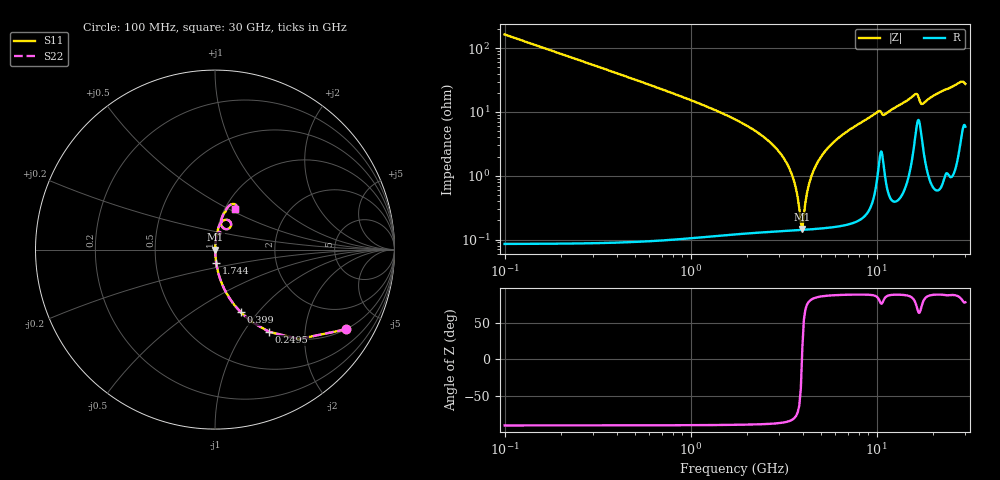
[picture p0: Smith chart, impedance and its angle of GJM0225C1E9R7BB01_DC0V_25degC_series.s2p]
!Murata Part Number: GJM0225C1E9R7BB01
!These Parameters are Measured in Series Mode Connection
!  o--ll--o
!Port1  Port2
!  o------o
!Operation Temp=25[degC], DC Bias Voltage=0[V]
!Freq. Start=100[MHz] Stop=30[GHz], 401[Steps]
!Data Generated on Feb 1, 2023
# Hz S RI R 50
!Freq.(Hz) S11(Real) S11(Imag) S21(Real) S21(Imag) S12(Real) S12(Imag) S22(Real) S22(Imag)
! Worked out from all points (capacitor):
!   401 points, 100 MHz to 30 GHz, reference 50 ohm
!   read as one part in series: C = 9.7 pF near 249.5 MHz
!   lowest |Z| = 147 mohm at 3.987 GHz (marker M1)
!   series resonance near 3.968 GHz, so ESL is about 170 pH
!   S11 on the Smith chart (normalised r, x): 100 MHz: 1.00, -3.28; 249.5 MHz: 1.00, -1.31; 399 MHz: 1.00, -0.81; 1.744 GHz: 1.00, -0.15; 30 GHz: 1.12, +0.54
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1e8  0.7288 -0.4443  0.2712 0.4443  0.2712 0.4443  0.7288 -0.4443
2.495e8  0.3004 -0.4578  0.6996 0.4578  0.6996 0.4578  0.3004 -0.4578
3.99e8  0.1426 -0.3486  0.8574 0.3486  0.8574 0.3486  0.1426 -0.3486
9.2225e8  0.0284 -0.1632  0.9716 0.1632  0.9716 0.1632  0.0284 -0.1632
1.7445e9  0.00689 -0.0751  0.9931 0.0751  0.9931 0.0751  0.00689 -0.0751
2.71625e9  0.00234 -0.032  0.9977 0.032  0.9977 0.032  0.00234 -0.032
3.2395e9  0.00165 -0.0168  0.9984 0.0168  0.9984 0.0168  0.00165 -0.0168
3.5385e9  0.00147 -0.00947  0.9985 0.00947  0.9985 0.00947  0.00147 -0.00947
3.8375e9  0.00141 -0.00276  0.9986 0.00276  0.9986 0.00276  0.00141 -0.00276
3.987e9  0.00141 0.000395  0.9986 -0.000395  0.9986 -0.000395  0.00141 0.000395
4.06175e9  0.00142 0.00193  0.9986 -0.00193  0.9986 -0.00193  0.00142 0.00193
4.4355e9  0.00153 0.00923  0.9985 -0.00923  0.9985 -0.00923  0.00153 0.00923
5.10825e9  0.00194 0.0212  0.9981 -0.0212  0.9981 -0.0212  0.00194 0.0212
6.75275e9  0.00384 0.0465  0.9962 -0.0465  0.9962 -0.0465  0.00384 0.0465
1.01165e10  0.0196 0.0971  0.9804 -0.0971  0.9804 -0.0971  0.0196 0.0971
1.093875e10  0.0209 0.0859  0.9791 -0.0859  0.9791 -0.0859  0.0209 0.0859
1.505e10  0.0357 0.1535  0.9643 -0.1535  0.9643 -0.1535  0.0357 0.1535
1.632075e10  0.0787 0.1613  0.9213 -0.1613  0.9213 -0.1613  0.0787 0.1613
1.751675e10  0.0502 0.1172  0.9498 -0.1172  0.9498 -0.1172  0.0502 0.1172
2.005825e10  0.0365 0.1697  0.9635 -0.1697  0.9635 -0.1697  0.0365 0.1697
2.50665e10  0.0635 0.225  0.9365 -0.225  0.9365 -0.225  0.0635 0.225
3e10  0.1126 0.2252  0.8874 -0.2252  0.8874 -0.2252  0.1126 0.2252
